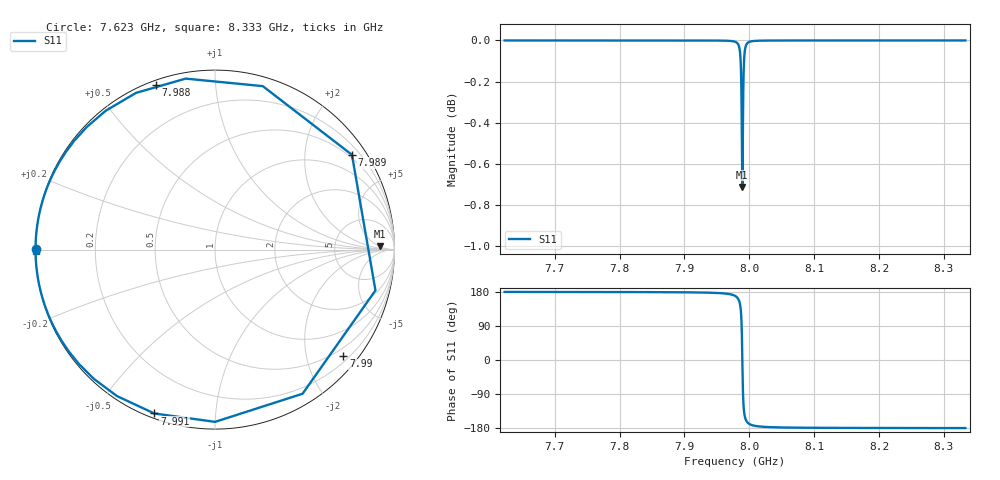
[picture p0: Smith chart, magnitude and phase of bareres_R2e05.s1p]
! Touchstone file exported from HFSS 2024.2.0
!  File:  C:/Users/artho/Documents/Ansoft/ansys_bareres_R2e05.aedt
!  Generated:  09:35:05 PM Sep  8, 2026
!  Design:  HFSS_KT8
!  Project:  ansys_bareres_R2e05
!  Setup:  Setup1
!  Solution:  Sweep1
# GHz S MA R 200000.000000
! Terminal data exported
! Port[1] = p1
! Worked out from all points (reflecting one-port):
!   20001 points, 7.623 GHz to 8.333 GHz, reference 200000 ohm
!   lowest |S11| = -0.7 dB at 7.989 GHz (marker M1), VSWR 24.41, Z = 4.63e+06 + j1.07e+06 ohm
!   phase of S11 starts at 180 deg and turns -359 deg over the sweep
!   S11 on the Smith chart (normalised r, x): 7.623 GHz: 0.00, +0.00; 7.988 GHz: 0.02, +0.70; 7.989 GHz: 0.41, +3.15; 7.99 GHz: 0.31, -2.74; 7.991 GHz: 0.02, -0.70; 8.333 GHz: 0.00, -0.00
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7.622746  1 179.7
7.711595  1 179.6
7.800408  1 179.4
7.889186  1 178.8
7.955974  0.9999 176.4
7.969971  0.9998 173.7
7.978  0.9993 169.3
7.981197  0.9986 165.1
7.983435  0.9974 159.6
7.984643  0.996 154.5
7.985567  0.994 148.4
7.986633  0.989 136.9
7.987805  0.9732 109.7
7.988977  0.928 34.7
7.989297  0.9213 1.1
7.989688  0.93 -39.7
7.990825  0.9736 -110.3
7.991997  0.9891 -137.1
7.993027  0.9939 -148.3
7.993809  0.9957 -153.6
7.994697  0.997 -157.8
7.998072  0.9988 -166.2
8.004182  0.9996 -171.9
8.014982  0.9999 -175.3
8.066849  1 -178.4
8.155663  1 -179.3
8.244441  1 -179.5
8.333254  1 -179.6
